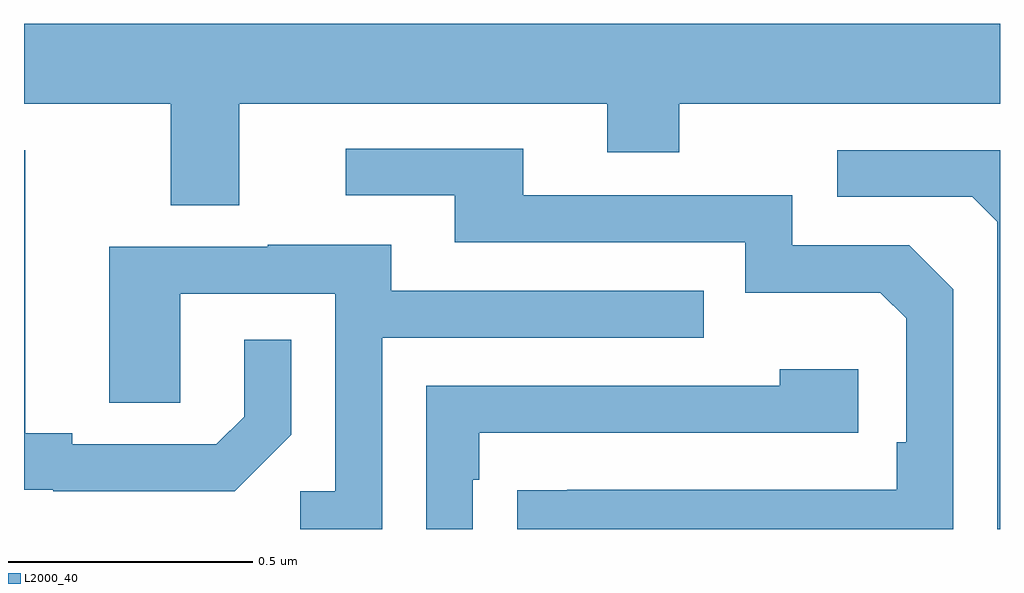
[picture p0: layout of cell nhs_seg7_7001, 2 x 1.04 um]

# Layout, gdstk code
import gdstk
lib = gdstk.Library(unit=1e-6, precision=1e-09)
def P(c, l, *ps):  # polygons
    for p in ps: c.add(gdstk.Polygon(p, *l))
L2000_40 = (2000, 40)

nhs_seg7_7001 = lib.new_cell('nhs_seg7_7001')
P(nhs_seg7_7001, L2000_40, [(205.441,1077.872),(206.195,1077.872),(206.195,1077.773),(206.343,1077.773),(206.343,1077.872),(207,1077.872),(207,1078.036),(205,1078.036),(205,1077.872),(205.301,1077.872),(205.301,1077.664),(205.441,1077.664)],
  [(206.904,1077.492),(206.814,1077.582),(206.574,1077.582),(206.574,1077.684),(206.023,1077.684),(206.023,1077.78),(205.659,1077.78),(205.659,1077.684),(205.883,1077.684),(205.883,1077.588),(206.478,1077.588),(206.478,1077.485),(206.755,1077.485),(206.808,1077.432),(206.808,1077.178),(206.788,1077.178),(206.788,1077.081),(206.113,1077.081),(206.113,1077.08),(206.011,1077.08),(206.011,1077),(206.904,1077)],
  [(205.548,1077.194),(205.548,1077.388),(205.451,1077.388),(205.451,1077.231),(205.394,1077.174),(205.099,1077.174),(205.099,1077.197),(205.003,1077.197),(205.003,1077.777),(205,1077.777),(205,1077.081),(205.06,1077.081),(205.06,1077.078),(205.432,1077.078)],
  [(207,1077.777),(206.667,1077.777),(206.667,1077.681),(206.943,1077.681),(206.994,1077.63),(206.994,1077),(207,1077)],
  [(205.734,1077.393),(206.393,1077.393),(206.393,1077.489),(205.753,1077.489),(205.753,1077.583),(205.499,1077.583),(205.499,1077.579),(205.175,1077.579),(205.175,1077.259),(205.32,1077.259),(205.32,1077.483),(205.638,1077.483),(205.638,1077.078),(205.566,1077.078),(205.566,1077),(205.734,1077)],
  [(205.92,1077.101),(205.933,1077.101),(205.933,1077.198),(206.71,1077.198),(206.71,1077.328),(206.549,1077.328),(206.549,1077.294),(205.824,1077.294),(205.824,1077),(205.92,1077)])

lib.write_gds('nhs_seg7_7001.gds')
